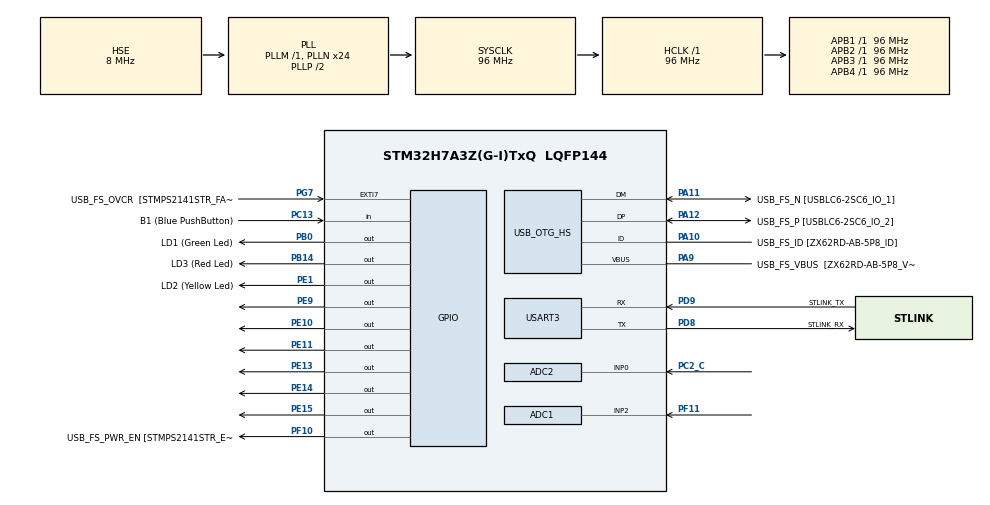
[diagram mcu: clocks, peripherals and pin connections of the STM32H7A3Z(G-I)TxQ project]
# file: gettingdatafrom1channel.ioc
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ADC1.Channel-2\#ChannelRegularConversion=ADC_CHANNEL_2
ADC1.NbrOfConversion=1
ADC1.NbrOfConversionFlag=1
ADC1.OffsetNumber-2\#ChannelRegularConversion=ADC_OFFSET_NONE
ADC1.OffsetSignedSaturation-2\#ChannelRegularConversion=DISABLE
ADC1.Rank-2\#ChannelRegularConversion=1
ADC1.SamplingTime-2\#ChannelRegularConversion=ADC_SAMPLETIME_32CYCLES_5
ADC1.master=1
ADC2.Channel-0\#ChannelRegularConversion=ADC_CHANNEL_0
ADC2.NbrOfConversionFlag=1
ADC2.OffsetNumber-0\#ChannelRegularConversion=ADC_OFFSET_NONE
ADC2.OffsetSignedSaturation-0\#ChannelRegularConversion=DISABLE
ADC2.Rank-0\#ChannelRegularConversion=1
ADC2.SamplingTime-0\#ChannelRegularConversion=ADC_SAMPLETIME_32CYCLES_5
Mcu.Family=STM32H7
Mcu.Name=STM32H7A3Z(G-I)TxQ
Mcu.Package=LQFP144
NVIC.PriorityGroup=NVIC_PRIORITYGROUP_4
PA10.GPIO_Label=USB_FS_ID [ZX62RD-AB-5P8_ID]
PA10.Mode=OTG/Dual-Role-Device-FS
PA10.Signal=USB_OTG_HS_ID
PA11.GPIO_Label=USB_FS_N [USBLC6-2SC6_IO_1]
PA11.Mode=OTG/Dual-Role-Device-FS
PA11.Signal=USB_OTG_HS_DM
PA12.GPIO_Label=USB_FS_P [USBLC6-2SC6_IO_2]
PA12.Mode=OTG/Dual-Role-Device-FS
PA12.Signal=USB_OTG_HS_DP
PA9.GPIO_Label=USB_FS_VBUS  [ZX62RD-AB-5P8_VBUS]
PA9.Mode=Activate_VBUS_FS
PA9.Signal=USB_OTG_HS_VBUS
PB0.GPIO_Label=LD1 (Green Led)
PB0.Signal=GPIO_Output
PB14.GPIO_Label=LD3 (Red Led)
PB14.Signal=GPIO_Output
PC13.GPIO_Label=B1 (Blue PushButton)
PC13.Signal=GPIO_Input
PC14-OSC32_IN.GPIO_Label=OSC32_IN
PC14-OSC32_IN.Mode=LSE-External-Oscillator
PC14-OSC32_IN.Signal=RCC_OSC32_IN
PC15-OSC32_OUT.GPIO_Label=OSC32_OUT
PC15-OSC32_OUT.Mode=LSE-External-Oscillator
PC15-OSC32_OUT.Signal=RCC_OSC32_OUT
PC2_C.Mode=IN0-Single-Ended
PC2_C.Signal=ADC2_INP0
PD8.GPIO_Label=STLINK_RX
PD8.Mode=Asynchronous
PD8.Signal=USART3_TX
PD9.GPIO_Label=STLINK_TX
PD9.Mode=Asynchronous
PD9.Signal=USART3_RX
PE1.GPIO_Label=LD2 (Yellow Led)
PE1.Signal=GPIO_Output
PE10.Signal=GPIO_Output
PE11.Signal=GPIO_Output
PE13.Signal=GPIO_Output
PE14.Signal=GPIO_Output
PE15.Signal=GPIO_Output
PE9.Signal=GPIO_Output
PF10.GPIO_Label=USB_FS_PWR_EN [STMPS2141STR_EN]
PF10.Signal=GPIO_Output
PF11.Mode=IN2-Single-Ended
PF11.Signal=ADC1_INP2
PG7.GPIO_Label=USB_FS_OVCR  [STMPS2141STR_FAULT]
PG7.Signal=GPXTI7
PH0-OSC_IN.GPIO_Label=PH0-MCU
PH0-OSC_IN.Mode=HSE-External-Clock-Source
PH0-OSC_IN.Signal=RCC_OSC_IN
PH1-OSC_OUT.GPIO_Label=PH1-MCU
PH1-OSC_OUT.Signal=RCC_OSC_OUT
ProjectManager.HeapSize=0x200
ProjectManager.StackSize=0x400
ProjectManager.TargetToolchain=STM32CubeIDE
RCC.ADCFreq_Value=42666666.666666664
RCC.APB1Freq_Value=96000000
RCC.APB2Freq_Value=96000000
RCC.APB3Freq_Value=96000000
RCC.APB4Freq_Value=96000000
RCC.CortexFreq_Value=96000000
RCC.DIVM1=1
RCC.DIVM2=1
RCC.DIVM3=1
RCC.DIVN1=24
RCC.DIVN2=16
RCC.DIVN3=24
RCC.DIVP2=3
RCC.DIVQ1=4
RCC.HCLKFreq_Value=96000000
RCC.HSE_VALUE=8000000
RCC.PLL2FRACN=0
RCC.PLLFRACN=0
RCC.PLLSourceVirtual=RCC_PLLSOURCE_HSE
RCC.PWR_Regulator_Voltage_Scale=PWR_REGULATOR_VOLTAGE_SCALE0
RCC.SYSCLKFreq_VALUE=96000000
RCC.SYSCLKSource=RCC_SYSCLKSOURCE_PLLCLK
RCC.SupplySource=PWR_DIRECT_SMPS_SUPPLY
RCC.USBCLockSelection=RCC_USBCLKSOURCE_HSI48
RCC.USBFreq_Value=48000000
USART3.VirtualMode-Asynchronous=VM_ASYNC
board=NUCLEO-H7A3ZI-Q

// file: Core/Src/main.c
/* USER CODE BEGIN Header */
/**
  ******************************************************************************
  * @file           : main.c
  * @brief          : Main program body
  ******************************************************************************
  * @attention
  *
  * Copyright (c) 2024 STMicroelectronics.
  * All rights reserved.
  *
  * This software is licensed under terms that can be found in the LICENSE file
  * in the root directory of this software component.
  * If no LICENSE file comes with this software, it is provided AS-IS.
  *
  ******************************************************************************
  */
/* USER CODE END Header */
#include "main.h"

/* USER CODE BEGIN Includes */
#include <string.h>
#include <stdio.h>
/* USER CODE END Includes */

ADC_HandleTypeDef hadc1;
ADC_HandleTypeDef hadc2;

UART_HandleTypeDef huart3;

void SystemClock_Config(void);
void PeriphCommonClock_Config(void);
static void MX_GPIO_Init(void);
static void MX_USART3_UART_Init(void);
static void MX_USB_OTG_HS_USB_Init(void);
static void MX_ADC1_Init(void);
static void MX_ADC2_Init(void);

int main(void)
{
  /* USER CODE BEGIN 1 */
	uint16_t raw;
	uint16_t raw2;

	uint8_t muxInp0;
	uint8_t muxinp1;

	char msg[10];
	char msg2[10];

  /* USER CODE END 1 */

  /* MCU Configuration--------------------------------------------------------*/

  /* Reset of all peripherals, Initializes the Flash interface and the Systick. */
  HAL_Init();

  /* Configure the system clock */
  SystemClock_Config();

/* Configure the peripherals common clocks */
  PeriphCommonClock_Config();

  /* Initialize all configured peripherals */
  MX_GPIO_Init();
  MX_USART3_UART_Init();
  MX_USB_OTG_HS_USB_Init();
  MX_ADC1_Init();
  MX_ADC2_Init();

  /* Infinite loop */
  /* USER CODE BEGIN WHILE */
  while (1)
  {

	  muxInp0 = 0b000;
	  muxInp1 = 0b000;
	  /* Pin 9, 10, 11 configured to muxInp1
	   * Pin 13, 14, 15 configured to muxInp2
	   */
	  HAL_GPIO_WritePin(GPIOE, GPIO_PIN_9, muxInp0 & 0b001 ? GPIO_PIN_SET : GPIO_PIN_RESET);
	  HAL_GPIO_WritePin(GPIOE, GPIO_PIN_10, muxInp0 & 0b010 ? GPIO_PIN_SET : GPIO_PIN_RESET);
	  HAL_GPIO_WritePin(GPIOE, GPIO_PIN_11, muxInp0 & 0b100 ? GPIO_PIN_SET : GPIO_PIN_RESET);

	  HAL_GPIO_WritePin(GPIOE, GPIO_PIN_13, muxInp1 & 0b001 ? GPIO_PIN_SET : GPIO_PIN_RESET);
	  HAL_GPIO_WritePin(GPIOE, GPIO_PIN_14, muxInp1 & 0b010 ? GPIO_PIN_SET : GPIO_PIN_RESET);
	  HAL_GPIO_WritePin(GPIOE, GPIO_PIN_15, muxInp1 & 0b100 ? GPIO_PIN_SET : GPIO_PIN_RESET);

	  HAL_ADC_Start(&hadc1);
	  HAL_ADC_Start(&hadc2);

	  HAL_ADC_PollForConversion(&hadc1, HAL_MAX_DELAY);
	  HAL_ADC_PollForConversion(&hadc2, HAL_MAX_DELAY);

	  raw = HAL_ADC_GetValue(&hadc1);
	  raw2 = HAL_ADC_GetValue(&hadc2);

	  raw = raw/22.4;
	  raw2 = raw2/22.4;

	  sprintf(msg, "%hu\r\n",raw);
	  sprintf(msg2, "%hu\r\n",raw2);

	  HAL_Delay(100);

    /* USER CODE END WHILE */

  }
}

void SystemClock_Config(void)
{
  RCC_OscInitTypeDef RCC_OscInitStruct = {0};
  RCC_ClkInitTypeDef RCC_ClkInitStruct = {0};

  /*AXI clock gating */
  RCC->CKGAENR = 0xFFFFFFFF;

  /** Supply configuration update enable
  */
  HAL_PWREx_ConfigSupply(PWR_DIRECT_SMPS_SUPPLY);

  /** Configure the main internal regulator output voltage
  */
  __HAL_PWR_VOLTAGESCALING_CONFIG(PWR_REGULATOR_VOLTAGE_SCALE0);

  while(!__HAL_PWR_GET_FLAG(PWR_FLAG_VOSRDY)) {}

  /** Initializes the RCC Oscillators according to the specified parameters
  * in the RCC_OscInitTypeDef structure.
  */
  RCC_OscInitStruct.OscillatorType = RCC_OSCILLATORTYPE_HSI48|RCC_OSCILLATORTYPE_HSE;
  RCC_OscInitStruct.HSEState = RCC_HSE_BYPASS;
  RCC_OscInitStruct.HSI48State = RCC_HSI48_ON;
  RCC_OscInitStruct.PLL.PLLState = RCC_PLL_ON;
  RCC_OscInitStruct.PLL.PLLSource = RCC_PLLSOURCE_HSE;
  RCC_OscInitStruct.PLL.PLLM = 1;
  RCC_OscInitStruct.PLL.PLLN = 24;
  RCC_OscInitStruct.PLL.PLLP = 2;
  RCC_OscInitStruct.PLL.PLLQ = 4;
  RCC_OscInitStruct.PLL.PLLR = 2;
  RCC_OscInitStruct.PLL.PLLRGE = RCC_PLL1VCIRANGE_3;
  RCC_OscInitStruct.PLL.PLLVCOSEL = RCC_PLL1VCOWIDE;
  RCC_OscInitStruct.PLL.PLLFRACN = 0;
  if (HAL_RCC_OscConfig(&RCC_OscInitStruct) != HAL_OK)
  {
    Error_Handler();
  }

  /** Initializes the CPU, AHB and APB buses clocks
  */
  RCC_ClkInitStruct.ClockType = RCC_CLOCKTYPE_HCLK|RCC_CLOCKTYPE_SYSCLK
                              |RCC_CLOCKTYPE_PCLK1|RCC_CLOCKTYPE_PCLK2
                              |RCC_CLOCKTYPE_D3PCLK1|RCC_CLOCKTYPE_D1PCLK1;
  RCC_ClkInitStruct.SYSCLKSource = RCC_SYSCLKSOURCE_PLLCLK;
  RCC_ClkInitStruct.SYSCLKDivider = RCC_SYSCLK_DIV1;
  RCC_ClkInitStruct.AHBCLKDivider = RCC_HCLK_DIV1;
  RCC_ClkInitStruct.APB3CLKDivider = RCC_APB3_DIV1;
  RCC_ClkInitStruct.APB1CLKDivider = RCC_APB1_DIV1;
  RCC_ClkInitStruct.APB2CLKDivider = RCC_APB2_DIV1;
  RCC_ClkInitStruct.APB4CLKDivider = RCC_APB4_DIV1;

  if (HAL_RCC_ClockConfig(&RCC_ClkInitStruct, FLASH_LATENCY_2) != HAL_OK)
  {
    Error_Handler();
  }
}

void PeriphCommonClock_Config(void)
{
  RCC_PeriphCLKInitTypeDef PeriphClkInitStruct = {0};

  /** Initializes the peripherals clock
  */
  PeriphClkInitStruct.PeriphClockSelection = RCC_PERIPHCLK_ADC;
  PeriphClkInitStruct.PLL2.PLL2M = 1;
  PeriphClkInitStruct.PLL2.PLL2N = 16;
  PeriphClkInitStruct.PLL2.PLL2P = 3;
  PeriphClkInitStruct.PLL2.PLL2Q = 2;
  PeriphClkInitStruct.PLL2.PLL2R = 2;
  PeriphClkInitStruct.PLL2.PLL2RGE = RCC_PLL2VCIRANGE_3;
  PeriphClkInitStruct.PLL2.PLL2VCOSEL = RCC_PLL2VCOWIDE;
  PeriphClkInitStruct.PLL2.PLL2FRACN = 0;
  PeriphClkInitStruct.AdcClockSelection = RCC_ADCCLKSOURCE_PLL2;
  if (HAL_RCCEx_PeriphCLKConfig(&PeriphClkInitStruct) != HAL_OK)
  {
    Error_Handler();
  }
}

static void MX_ADC1_Init(void)
{

  ADC_MultiModeTypeDef multimode = {0};
  ADC_ChannelConfTypeDef sConfig = {0};

  /** Common config
  */
  hadc1.Instance = ADC1;
  hadc1.Init.ClockPrescaler = ADC_CLOCK_ASYNC_DIV1;
  hadc1.Init.Resolution = ADC_RESOLUTION_16B;
  hadc1.Init.ScanConvMode = ADC_SCAN_DISABLE;
  hadc1.Init.EOCSelection = ADC_EOC_SINGLE_CONV;
  hadc1.Init.LowPowerAutoWait = DISABLE;
  hadc1.Init.ContinuousConvMode = DISABLE;
  hadc1.Init.NbrOfConversion = 1;
  hadc1.Init.DiscontinuousConvMode = DISABLE;
  hadc1.Init.ExternalTrigConv = ADC_SOFTWARE_START;
  hadc1.Init.ExternalTrigConvEdge = ADC_EXTERNALTRIGCONVEDGE_NONE;
  hadc1.Init.ConversionDataManagement = ADC_CONVERSIONDATA_DR;
  hadc1.Init.Overrun = ADC_OVR_DATA_PRESERVED;
  hadc1.Init.LeftBitShift = ADC_LEFTBITSHIFT_NONE;
  hadc1.Init.OversamplingMode = DISABLE;
  if (HAL_ADC_Init(&hadc1) != HAL_OK)
  {
    Error_Handler();
  }

  /** Configure the ADC multi-mode
  */
  multimode.Mode = ADC_MODE_INDEPENDENT;
  if (HAL_ADCEx_MultiModeConfigChannel(&hadc1, &multimode) != HAL_OK)
  {
    Error_Handler();
  }

  /** Configure Regular Channel
  */
  sConfig.Channel = ADC_CHANNEL_2;
  sConfig.Rank = ADC_REGULAR_RANK_1;
  sConfig.SamplingTime = ADC_SAMPLETIME_32CYCLES_5;
  sConfig.SingleDiff = ADC_SINGLE_ENDED;
  sConfig.OffsetNumber = ADC_OFFSET_NONE;
  sConfig.Offset = 0;
  sConfig.OffsetSignedSaturation = DISABLE;
  if (HAL_ADC_ConfigChannel(&hadc1, &sConfig) != HAL_OK)
  {
    Error_Handler();
  }

}

static void MX_ADC2_Init(void)
{

  ADC_ChannelConfTypeDef sConfig = {0};

  /** Common config
  */
  hadc2.Instance = ADC2;
  hadc2.Init.ClockPrescaler = ADC_CLOCK_ASYNC_DIV1;
  hadc2.Init.Resolution = ADC_RESOLUTION_16B;
  hadc2.Init.ScanConvMode = ADC_SCAN_DISABLE;
  hadc2.Init.EOCSelection = ADC_EOC_SINGLE_CONV;
  hadc2.Init.LowPowerAutoWait = DISABLE;
  hadc2.Init.ContinuousConvMode = DISABLE;
  hadc2.Init.NbrOfConversion = 1;
  hadc2.Init.DiscontinuousConvMode = DISABLE;
  hadc2.Init.ExternalTrigConv = ADC_SOFTWARE_START;
  hadc2.Init.ExternalTrigConvEdge = ADC_EXTERNALTRIGCONVEDGE_NONE;
  hadc2.Init.ConversionDataManagement = ADC_CONVERSIONDATA_DR;
  hadc2.Init.Overrun = ADC_OVR_DATA_PRESERVED;
  hadc2.Init.LeftBitShift = ADC_LEFTBITSHIFT_NONE;
  hadc2.Init.OversamplingMode = DISABLE;
  if (HAL_ADC_Init(&hadc2) != HAL_OK)
  {
    Error_Handler();
  }

  /** Configure Regular Channel
  */
  sConfig.Channel = ADC_CHANNEL_0;
  sConfig.Rank = ADC_REGULAR_RANK_1;
  sConfig.SamplingTime = ADC_SAMPLETIME_32CYCLES_5;
  sConfig.SingleDiff = ADC_SINGLE_ENDED;
  sConfig.OffsetNumber = ADC_OFFSET_NONE;
  sConfig.Offset = 0;
  sConfig.OffsetSignedSaturation = DISABLE;
  if (HAL_ADC_ConfigChannel(&hadc2, &sConfig) != HAL_OK)
  {
    Error_Handler();
  }

}

static void MX_USART3_UART_Init(void)
{

  huart3.Instance = USART3;
  huart3.Init.BaudRate = 115200;
  huart3.Init.WordLength = UART_WORDLENGTH_8B;
  huart3.Init.StopBits = UART_STOPBITS_1;
  huart3.Init.Parity = UART_PARITY_NONE;
  huart3.Init.Mode = UART_MODE_TX_RX;
  huart3.Init.HwFlowCtl = UART_HWCONTROL_NONE;
  huart3.Init.OverSampling = UART_OVERSAMPLING_16;
  huart3.Init.OneBitSampling = UART_ONE_BIT_SAMPLE_DISABLE;
  huart3.Init.ClockPrescaler = UART_PRESCALER_DIV1;
  huart3.AdvancedInit.AdvFeatureInit = UART_ADVFEATURE_NO_INIT;
  if (HAL_UART_Init(&huart3) != HAL_OK)
  {
    Error_Handler();
  }
  if (HAL_UARTEx_SetTxFifoThreshold(&huart3, UART_TXFIFO_THRESHOLD_1_8) != HAL_OK)
  {
    Error_Handler();
  }
  if (HAL_UARTEx_SetRxFifoThreshold(&huart3, UART_RXFIFO_THRESHOLD_1_8) != HAL_OK)
  {
    Error_Handler();
  }
  if (HAL_UARTEx_DisableFifoMode(&huart3) != HAL_OK)
  {
    Error_Handler();
  }

}

static void MX_USB_OTG_HS_USB_Init(void)
{

}

static void MX_GPIO_Init(void)
{
  GPIO_InitTypeDef GPIO_InitStruct = {0};

  /* GPIO Ports Clock Enable */
  __HAL_RCC_GPIOC_CLK_ENABLE();
  __HAL_RCC_GPIOF_CLK_ENABLE();
  __HAL_RCC_GPIOH_CLK_ENABLE();
  __HAL_RCC_GPIOB_CLK_ENABLE();
  __HAL_RCC_GPIOE_CLK_ENABLE();
  __HAL_RCC_GPIOD_CLK_ENABLE();
  __HAL_RCC_GPIOG_CLK_ENABLE();
  __HAL_RCC_GPIOA_CLK_ENABLE();

  /*Configure GPIO pin Output Level */
  HAL_GPIO_WritePin(USB_FS_PWR_EN_GPIO_Port, USB_FS_PWR_EN_Pin, GPIO_PIN_RESET);

  /*Configure GPIO pin Output Level */
  HAL_GPIO_WritePin(GPIOB, LD1_Pin|LD3_Pin, GPIO_PIN_RESET);

  /*Configure GPIO pin Output Level */
  HAL_GPIO_WritePin(GPIOE, GPIO_PIN_9|GPIO_PIN_10|GPIO_PIN_11|GPIO_PIN_13
                          |GPIO_PIN_14|GPIO_PIN_15|LD2_Pin, GPIO_PIN_RESET);

  /*Configure GPIO pin : B1_Pin */
  GPIO_InitStruct.Pin = B1_Pin;
  GPIO_InitStruct.Mode = GPIO_MODE_INPUT;
  GPIO_InitStruct.Pull = GPIO_NOPULL;
  HAL_GPIO_Init(B1_GPIO_Port, &GPIO_InitStruct);

  /*Configure GPIO pin : USB_FS_PWR_EN_Pin */
  GPIO_InitStruct.Pin = USB_FS_PWR_EN_Pin;
  GPIO_InitStruct.Mode = GPIO_MODE_OUTPUT_PP;
  GPIO_InitStruct.Pull = GPIO_NOPULL;
  GPIO_InitStruct.Speed = GPIO_SPEED_FREQ_LOW;
  HAL_GPIO_Init(USB_FS_PWR_EN_GPIO_Port, &GPIO_InitStruct);

  /*Configure GPIO pins : LD1_Pin LD3_Pin */
  GPIO_InitStruct.Pin = LD1_Pin|LD3_Pin;
  GPIO_InitStruct.Mode = GPIO_MODE_OUTPUT_PP;
  GPIO_InitStruct.Pull = GPIO_NOPULL;
  GPIO_InitStruct.Speed = GPIO_SPEED_FREQ_LOW;
  HAL_GPIO_Init(GPIOB, &GPIO_InitStruct);

  /*Configure GPIO pins : PE9 PE10 PE11 PE13
                           PE14 PE15 LD2_Pin */
  GPIO_InitStruct.Pin = GPIO_PIN_9|GPIO_PIN_10|GPIO_PIN_11|GPIO_PIN_13
                          |GPIO_PIN_14|GPIO_PIN_15|LD2_Pin;
  GPIO_InitStruct.Mode = GPIO_MODE_OUTPUT_PP;
  GPIO_InitStruct.Pull = GPIO_NOPULL;
  GPIO_InitStruct.Speed = GPIO_SPEED_FREQ_LOW;
  HAL_GPIO_Init(GPIOE, &GPIO_InitStruct);

  /*Configure GPIO pin : USB_FS_OVCR_Pin */
  GPIO_InitStruct.Pin = USB_FS_OVCR_Pin;
  GPIO_InitStruct.Mode = GPIO_MODE_IT_RISING;
  GPIO_InitStruct.Pull = GPIO_NOPULL;
  HAL_GPIO_Init(USB_FS_OVCR_GPIO_Port, &GPIO_InitStruct);

  /*Configure GPIO pin : USB_FS_VBUS_Pin */
  GPIO_InitStruct.Pin = USB_FS_VBUS_Pin;
  GPIO_InitStruct.Mode = GPIO_MODE_INPUT;
  GPIO_InitStruct.Pull = GPIO_NOPULL;
  HAL_GPIO_Init(USB_FS_VBUS_GPIO_Port, &GPIO_InitStruct);

  /*Configure GPIO pin : USB_FS_ID_Pin */
  GPIO_InitStruct.Pin = USB_FS_ID_Pin;
  GPIO_InitStruct.Mode = GPIO_MODE_AF_PP;
  GPIO_InitStruct.Pull = GPIO_NOPULL;
  GPIO_InitStruct.Speed = GPIO_SPEED_FREQ_LOW;
  GPIO_InitStruct.Alternate = GPIO_AF10_OTG1_HS;
  HAL_GPIO_Init(USB_FS_ID_GPIO_Port, &GPIO_InitStruct);

  /*Configure GPIO pins : USB_FS_N_Pin USB_FS_P_Pin */
  GPIO_InitStruct.Pin = USB_FS_N_Pin|USB_FS_P_Pin;
  GPIO_InitStruct.Mode = GPIO_MODE_AF_PP;
  GPIO_InitStruct.Pull = GPIO_NOPULL;
  GPIO_InitStruct.Speed = GPIO_SPEED_FREQ_LOW;
  HAL_GPIO_Init(GPIOA, &GPIO_InitStruct);

}

void Error_Handler(void)
{
  __disable_irq();
  while (1)
  {
  }
}
